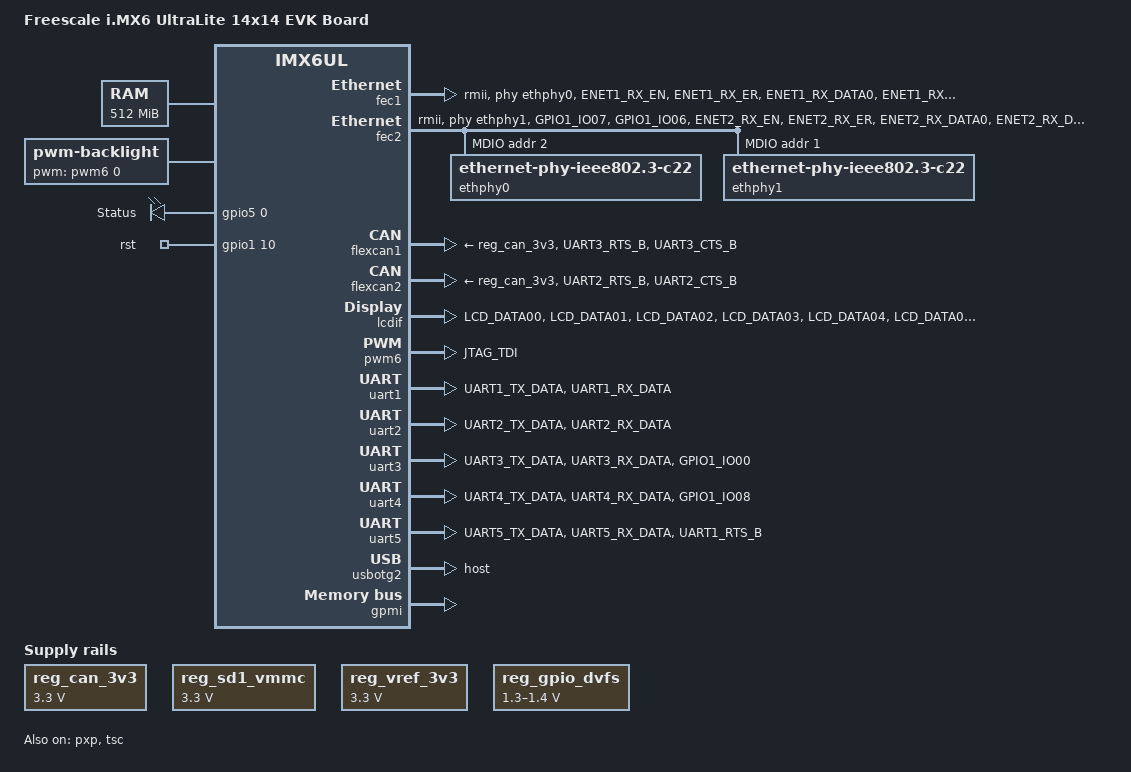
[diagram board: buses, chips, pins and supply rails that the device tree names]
/*
 * Copyright (C) 2015 Freescale Semiconductor, Inc.
 *
 * This program is free software; you can redistribute it and/or modify
 * it under the terms of the GNU General Public License version 2 as
 * published by the Free Software Foundation.
 */

/dts-v1/;

#include <dt-bindings/input/input.h>
#include "imx6ul.dtsi"
#define LCD_320X240 1
#define LCD_480X272 2
#define LCD_800X480 3
#define LCD_800X600 4
#define LCD_STYLE LCD_800X480
/ {
	model = "Freescale i.MX6 UltraLite 14x14 EVK Board";
	compatible = "fsl,imx6ul-14x14-evk", "fsl,imx6ul";

	chosen {
		stdout-path = &uart1;
	};

	memory {
		reg = <0x80000000 0x20000000>;
	};

	backlight {
		compatible = "pwm-backlight";
		pwms = <&pwm6 0 5000000>;
		brightness-levels = <0 4 8 16 32 64 128 255>;
		default-brightness-level = <6>;
		status = "okay";
	};
	leds {
		compatible = "gpio-leds";
		pinctrl-0 = <&pinctrl_gpio>;
		ld1 {
			label = "Status";
			gpios = <&gpio5 0 0>; /* Active low */
			linux,default-trigger = "heartbeat";
		};
		ld2 {
			label = "rst";
			gpios = <&gpio1 10 0>; /* Active low */
			default-state = "on";
		};
	};
	
	pxp_v4l2 {
		compatible = "fsl,imx6ul-pxp-v4l2", "fsl,imx6sx-pxp-v4l2", "fsl,imx6sl-pxp-v4l2";
		status = "okay";
	};

	regulators {
		compatible = "simple-bus";
		#address-cells = <1>;
		#size-cells = <0>;

		reg_can_3v3: regulator@0 {
			compatible = "regulator-fixed";
			reg = <0>;
			regulator-name = "can-3v3";
			regulator-min-microvolt = <3300000>;
			regulator-max-microvolt = <3300000>;
		};

		reg_sd1_vmmc: regulator@1 {
			compatible = "regulator-fixed";
			regulator-name = "VSD_3V3";
			regulator-min-microvolt = <3300000>;
			regulator-max-microvolt = <3300000>;
		
		};
		reg_vref_3v3: regulator@2 {
			compatible = "regulator-fixed";
			regulator-name = "vref-3v3";
			regulator-min-microvolt = <3300000>;
			regulator-max-microvolt = <3300000>;
		};

		reg_gpio_dvfs: regulator-gpio {
			compatible = "regulator-gpio";
			pinctrl-names = "default";
			pinctrl-0 = <&pinctrl_dvfs>;
			regulator-min-microvolt = <1300000>;
			regulator-max-microvolt = <1400000>;
			regulator-name = "gpio_dvfs";
			regulator-type = "voltage";
			gpios = <&gpio5 3 GPIO_ACTIVE_HIGH>;
			states = <1300000 0x1 1400000 0x0>;
		};
	};


	spi4 {
		compatible = "spi-gpio";
		pinctrl-names = "default";
		pinctrl-0 = <&pinctrl_spi4>;
		pinctrl-assert-gpios = <&gpio5 8 GPIO_ACTIVE_LOW>;
		status = "disabled";
		gpio-sck = <&gpio5 11 0>;
		gpio-mosi = <&gpio5 10 0>;
		cs-gpios = <&gpio5 7 0>;
		num-chipselects = <1>;
		#address-cells = <1>;
		#size-cells = <0>;

		gpio_spi: gpio_spi@0 {
			compatible = "fairchild,74hc595";
			gpio-controller;
			#gpio-cells = <2>;
			reg = <0>;
			registers-number = <1>;
			registers-default = /bits/ 8 <0xb7>;
			spi-max-frequency = <100000>;
		};
	};
};

&cpu0 {
	arm-supply = <&reg_arm>;
	soc-supply = <&reg_soc>;
	dc-supply = <&reg_gpio_dvfs>;
};

&clks {
	assigned-clocks = <&clks IMX6UL_CLK_PLL4_AUDIO_DIV>;
	assigned-clock-rates = <786432000>;
};

&fec1 {
	pinctrl-names = "default";
	pinctrl-0 = <&pinctrl_enet1>;
	phy-mode = "rmii";
	phy-handle = <&ethphy0>;
	status = "okay";
};

&fec2 {
	pinctrl-names = "default";
	pinctrl-0 = <&pinctrl_enet2>;
	phy-mode = "rmii";
	phy-handle = <&ethphy1>;
	status = "okay";

	mdio {
		#address-cells = <1>;
		#size-cells = <0>;

		ethphy0: ethernet-phy@2 {
			compatible = "ethernet-phy-ieee802.3-c22";
			reg = <2>;
		};

		ethphy1: ethernet-phy@1 {
			compatible = "ethernet-phy-ieee802.3-c22";
			reg = <1>;
		};
	};
};

&flexcan1 {
	pinctrl-names = "default";
	pinctrl-0 = <&pinctrl_flexcan1>;
	xceiver-supply = <&reg_can_3v3>;
	status = "okay";
};

&flexcan2 {
	pinctrl-names = "default";
	pinctrl-0 = <&pinctrl_flexcan2>;
	xceiver-supply = <&reg_can_3v3>;
	status = "okay";
};

&gpc {
	fsl,cpu_pupscr_sw2iso = <0x1>;
	fsl,cpu_pupscr_sw = <0x0>;
	fsl,cpu_pdnscr_iso2sw = <0x1>;
	fsl,cpu_pdnscr_iso = <0x1>;
	fsl,wdog-reset = <1>; /* watchdog select of reset source */
	fsl,ldo-bypass = <0>; /* DCDC, ldo-enable */
};

&lcdif {
	pinctrl-names = "default";
	pinctrl-0 = <&pinctrl_lcdif_dat
		     &pinctrl_lcdif_ctrl>;
	display = <&display0>;
	status = "okay";

	display0: display {
		bits-per-pixel = <32>;
		bus-width = <24>;
		
		display-timings {
			native-mode = <&timing0>;
			timing0: timing0 {
			clock-frequency = <30200000>;
			hactive = <800>;
			vactive = <480>;
			hfront-porch = <40>;
			hback-porch = <40>;
			hsync-len = <41>;
			vback-porch = <13>;
			vfront-porch = <29>;
			vsync-len = <13>;

			hsync-active = <0>;
			vsync-active = <0>;
			de-active = <1>;
			pixelclk-active = <0>;
			};
		};
	};
};

&pwm6 {
	pinctrl-names = "default";
	pinctrl-0 = <&pinctrl_pwm6>;
	status = "okay";
};

&pxp {
	status = "okay";
};


&tsc {
	pinctrl-names = "default";
	pinctrl-0 = <&pinctrl_tsc>;
	status = "okay";
	xnur-gpio = <&gpio1 3 0>;
#if LCD_STYLE== LCD_320X240
	measure_delay_time = <0x1fffff>;
	pre_charge_time = <0xfff>;
#endif
#if LCD_STYLE== LCD_480X272
	measure_delay_time = <0x1fffff>;
	pre_charge_time = <0xfff>;
#endif
#if LCD_STYLE== LCD_800X480
	measure_delay_time = <0x1fffff>;
	pre_charge_time = <0xfff>;
#endif
#if LCD_STYLE== LCD_800X600
	measure_delay_time = <0x1fffff>;
	pre_charge_time = <0xfff>;
#endif
};

&uart1 {
	pinctrl-names = "default";
	pinctrl-0 = <&pinctrl_uart1>;
	status = "okay";
};

&uart2 {
	pinctrl-names = "default";
	pinctrl-0 = <&pinctrl_uart2>;
	status = "okay";
};

&uart3 {
	pinctrl-names = "default";
	pinctrl-0 = <&pinctrl_uart3>;
	rs485-gpios = <&gpio1 0 0>; //GPIO_0
	status = "okay";
};

&uart4 {
	pinctrl-names = "default";
	pinctrl-0 = <&pinctrl_uart4>;
	rs485-gpios = <&gpio1 8 0>; //GPIO_8
	status = "okay";
};

&uart5 {
	pinctrl-names = "default";
	pinctrl-0 = <&pinctrl_uart5>;
	rs485-gpios = <&gpio1 19 0>; //UART1_RTS
	status = "okay";
};

&uart6 {
	pinctrl-names = "default";
	pinctrl-0 = <&pinctrl_uart6>;
	rs485-gpios = <&gpio4 22 0>;
	status = "disabled";
};

&uart7 {
	pinctrl-names = "default";
	pinctrl-0 = <&pinctrl_uart7>;
	status = "disabled";
};

&uart8 {
	pinctrl-names = "default";
	pinctrl-0 = <&pinctrl_uart8>;
	status = "disabled";
};

&usbotg1 {
	dr_mode = "peripheral";
	status = "disabled";
};

&usbotg2 {
	dr_mode = "host";
	disable-over-current;
	status = "okay";
};

&usdhc1 {
	pinctrl-names = "default", "state_100mhz", "state_200mhz";
	pinctrl-0 = <&pinctrl_usdhc1>;
	pinctrl-1 = <&pinctrl_usdhc1_100mhz>;
	pinctrl-2 = <&pinctrl_usdhc1_200mhz>;
	/*cd-gpios = <&gpio1 19 0>;*/
	keep-power-in-suspend;
	enable-sdio-wakeup;
	vmmc-supply = <&reg_sd1_vmmc>;
	status = "disabled";
};

&usdhc2 {
	pinctrl-names = "default";
	pinctrl-0 = <&pinctrl_usdhc2>;
	no-1-8-v;
	keep-power-in-suspend;
	enable-sdio-wakeup;
	status = "disabled";
};

&qspi {
	pinctrl-names = "default";
	pinctrl-0 = <&pinctrl_qspi>;
	status = "disabled";
	ddrsmp=<0>;

	flash0: n25q256a@0 {
		#address-cells = <1>;
		#size-cells = <1>;
		compatible = "micron,n25q256a";
		spi-max-frequency = <29000000>;
		spi-nor,ddr-quad-read-dummy = <6>;
		reg = <0>;
	};
};
&gpmi{
	status = "okay";
};

&iomuxc {
	pinctrl-names = "default";
	pinctrl-0 = <&pinctrl_hog_1>;
	imx6ul-evk {
		pinctrl_hog_1: hoggrp-1 {
			fsl,pins = <
				MX6UL_PAD_LCD_RESET__WDOG1_WDOG_ANY    0x30b0
				
				//MX6UL_PAD_SD1_CMD__GPIO2_IO16       0x17059
				//MX6UL_PAD_SD1_DATA1__GPIO2_IO19     0x17059   
				//MX6UL_PAD_SD1_DATA2__GPIO2_IO20     0x17059 
				//MX6UL_PAD_SD1_DATA3__GPIO2_IO21 	0x17059	
				
				MX6UL_PAD_CSI_HSYNC__GPIO4_IO20     0xC0017059  //IN1 设置sion 不然OUT读到的value为0
				MX6UL_PAD_CSI_VSYNC__GPIO4_IO19     0xC0017059  //IN2
				MX6UL_PAD_CSI_DATA00__GPIO4_IO21	0xC0017059  //IN3
				MX6UL_PAD_CSI_DATA01__GPIO4_IO22	0xC0017059  //IN4
				MX6UL_PAD_CSI_DATA02__GPIO4_IO23	0xC0017059  //IN5
				MX6UL_PAD_CSI_DATA03__GPIO4_IO24	0xC0017059  //IN6         
				
				MX6UL_PAD_GPIO1_IO09__GPIO1_IO09	0xC0017059  //OUT1
				MX6UL_PAD_SNVS_TAMPER1__GPIO5_IO01  0xC0017059  //OUT2
				MX6UL_PAD_SNVS_TAMPER0__GPIO5_IO00  0xC0017059  //OUT3
				MX6UL_PAD_SNVS_TAMPER7__GPIO5_IO07  0xC0017059  //OUT4
				MX6UL_PAD_SNVS_TAMPER4__GPIO5_IO04  0xC0017059  //OUT5
				MX6UL_PAD_SNVS_TAMPER9__GPIO5_IO09  0xC0017059  //OUT6
				MX6UL_PAD_SNVS_TAMPER8__GPIO5_IO08  0xC0017059  //OUT7
				
			
			>;
		};

		pinctrl_enet1: enet1grp {
			fsl,pins = <
				MX6UL_PAD_ENET1_RX_EN__ENET1_RX_EN	0x1b0b0
				MX6UL_PAD_ENET1_RX_ER__ENET1_RX_ER	0x1b0b0
				MX6UL_PAD_ENET1_RX_DATA0__ENET1_RDATA00	0x1b0b0
				MX6UL_PAD_ENET1_RX_DATA1__ENET1_RDATA01	0x1b0b0
				MX6UL_PAD_ENET1_TX_EN__ENET1_TX_EN	0x1b0b0
				MX6UL_PAD_ENET1_TX_DATA0__ENET1_TDATA00	0x1b0b0
				MX6UL_PAD_ENET1_TX_DATA1__ENET1_TDATA01	0x1b0b0
				MX6UL_PAD_ENET1_TX_CLK__ENET1_REF_CLK1	0x4001b031
			>;
		};

		pinctrl_enet2: enet2grp {
			fsl,pins = <
				MX6UL_PAD_GPIO1_IO07__ENET2_MDC		0x1b0b0
				MX6UL_PAD_GPIO1_IO06__ENET2_MDIO	0x1b0b0
				MX6UL_PAD_ENET2_RX_EN__ENET2_RX_EN	0x1b0b0
				MX6UL_PAD_ENET2_RX_ER__ENET2_RX_ER	0x1b0b0
				MX6UL_PAD_ENET2_RX_DATA0__ENET2_RDATA00	0x1b0b0
				MX6UL_PAD_ENET2_RX_DATA1__ENET2_RDATA01	0x1b0b0
				MX6UL_PAD_ENET2_TX_EN__ENET2_TX_EN	0x1b0b0
				MX6UL_PAD_ENET2_TX_DATA0__ENET2_TDATA00	0x1b0b0
				MX6UL_PAD_ENET2_TX_DATA1__ENET2_TDATA01	0x1b0b0
				MX6UL_PAD_ENET2_TX_CLK__ENET2_REF_CLK2	0x4001b031
				//MX6UL_PAD_SNVS_TAMPER0__GPIO5_IO00	0x80000000
			>;
		};

		pinctrl_flexcan1: flexcan1grp{
			fsl,pins = <
				MX6UL_PAD_UART3_RTS_B__FLEXCAN1_RX	0x1b020
				MX6UL_PAD_UART3_CTS_B__FLEXCAN1_TX	0x1b020
			>;
		};

		pinctrl_flexcan2: flexcan2grp{
			fsl,pins = <
				MX6UL_PAD_UART2_RTS_B__FLEXCAN2_RX	0x1b020
				MX6UL_PAD_UART2_CTS_B__FLEXCAN2_TX	0x1b020
			>;
		};

		pinctrl_gprs:gprsgrp{
			fsl,pins = <
			MX6UL_PAD_ENET2_RX_ER__GPIO2_IO15	0x70a0
			>;
		};
		pinctrl_lcdif_dat: lcdifdatgrp {
			fsl,pins = <
				MX6UL_PAD_LCD_DATA00__LCDIF_DATA00  0x79
				MX6UL_PAD_LCD_DATA01__LCDIF_DATA01  0x79
				MX6UL_PAD_LCD_DATA02__LCDIF_DATA02  0x79
				MX6UL_PAD_LCD_DATA03__LCDIF_DATA03  0x79
				MX6UL_PAD_LCD_DATA04__LCDIF_DATA04  0x79
				MX6UL_PAD_LCD_DATA05__LCDIF_DATA05  0x79
				MX6UL_PAD_LCD_DATA06__LCDIF_DATA06  0x79
				MX6UL_PAD_LCD_DATA07__LCDIF_DATA07  0x79
				MX6UL_PAD_LCD_DATA08__LCDIF_DATA08  0x79
				MX6UL_PAD_LCD_DATA09__LCDIF_DATA09  0x79
				MX6UL_PAD_LCD_DATA10__LCDIF_DATA10  0x79
				MX6UL_PAD_LCD_DATA11__LCDIF_DATA11  0x79
				MX6UL_PAD_LCD_DATA12__LCDIF_DATA12  0x79
				MX6UL_PAD_LCD_DATA13__LCDIF_DATA13  0x79
				MX6UL_PAD_LCD_DATA14__LCDIF_DATA14  0x79
				MX6UL_PAD_LCD_DATA15__LCDIF_DATA15  0x79
				MX6UL_PAD_LCD_DATA17__LCDIF_DATA17  0x79
				MX6UL_PAD_LCD_DATA18__LCDIF_DATA18  0x79
				MX6UL_PAD_LCD_DATA19__LCDIF_DATA19  0x79
				MX6UL_PAD_LCD_DATA20__LCDIF_DATA20  0x79
				MX6UL_PAD_LCD_DATA21__LCDIF_DATA21  0x79
				MX6UL_PAD_LCD_DATA22__LCDIF_DATA22  0x79
				MX6UL_PAD_LCD_DATA23__LCDIF_DATA23  0x79
				MX6UL_PAD_JTAG_MOD__GPIO1_IO10      0xC0017059
				
			>;
		};

		pinctrl_lcdif_ctrl: lcdifctrlgrp {
			fsl,pins = <
				MX6UL_PAD_LCD_CLK__LCDIF_CLK	    0x79
				MX6UL_PAD_LCD_ENABLE__LCDIF_ENABLE  0x79
				MX6UL_PAD_LCD_HSYNC__LCDIF_HSYNC    0x79
				MX6UL_PAD_LCD_VSYNC__LCDIF_VSYNC    0x79
			>;
		};
	
		pinctrl_gpio: gpiogrp {
			fsl,pins = <
				MX6UL_PAD_SNVS_TAMPER0__GPIO5_IO00   0x110b0
				//MX6UL_PAD_SNVS_TAMPER1__GPIO5_IO01   0x110b0
				//MX6UL_PAD_SNVS_TAMPER7__GPIO5_IO07   0x110b0
			>;
		};

		pinctrl_pwm6: pwm6grp {
			fsl,pins = <
				MX6UL_PAD_JTAG_TDI__PWM6_OUT   0x110b0
			>;
		};

		pinctrl_sim2_1: sim2grp-1 {
			fsl,pins = <
				MX6UL_PAD_CSI_DATA03__SIM2_PORT1_PD		0xb808
				MX6UL_PAD_CSI_DATA04__SIM2_PORT1_CLK		0x31
				MX6UL_PAD_CSI_DATA05__SIM2_PORT1_RST_B		0xb808
				MX6UL_PAD_CSI_DATA06__SIM2_PORT1_SVEN		0xb808
				MX6UL_PAD_CSI_DATA07__SIM2_PORT1_TRXD		0xb809
				MX6UL_PAD_CSI_DATA02__GPIO4_IO23		0x3008
			>;
		};

		pinctrl_uart1: uart1grp {
			fsl,pins = <
				MX6UL_PAD_UART1_TX_DATA__UART1_DCE_TX 0x1b0b1
				MX6UL_PAD_UART1_RX_DATA__UART1_DCE_RX 0x1b0b1
			>;
		};
		pinctrl_uart2: uart2grp {
			fsl,pins = <
				MX6UL_PAD_UART2_TX_DATA__UART2_DCE_TX	0x1b0b1
				MX6UL_PAD_UART2_RX_DATA__UART2_DCE_RX	0x1b0b1
			>;
		};
		pinctrl_uart3: uart3grp {
			fsl,pins = <
				MX6UL_PAD_UART3_TX_DATA__UART3_DCE_TX 0x1b0b1
				MX6UL_PAD_UART3_RX_DATA__UART3_DCE_RX 0x1b0b1
				MX6UL_PAD_GPIO1_IO00__GPIO1_IO00	0x17059 /*uart3 485-io*/
				
			>;
		};
		pinctrl_uart4: uart4grp {
			fsl,pins = <
				MX6UL_PAD_UART4_TX_DATA__UART4_DCE_TX 0x1b0b1
				MX6UL_PAD_UART4_RX_DATA__UART4_DCE_RX 0x1b0b1
				MX6UL_PAD_GPIO1_IO08__GPIO1_IO08    0x17059 /*uart4 485-io*/
			>;
		};
		pinctrl_uart5: uart5grp {
			fsl,pins = <
				MX6UL_PAD_UART5_TX_DATA__UART5_DCE_TX 0x1b0b1
				MX6UL_PAD_UART5_RX_DATA__UART5_DCE_RX 0x1b0b1
				MX6UL_PAD_UART1_RTS_B__GPIO1_IO19	0x17059 /*uart5 485-io */
				
			>;
		};
		pinctrl_uart6: uart6grp {
			fsl,pins = <
				MX6UL_PAD_CSI_MCLK__UART6_DCE_TX   0x1b0b1
				MX6UL_PAD_CSI_PIXCLK__UART6_DCE_RX 0x1b0b1
			>;
		};
		pinctrl_uart7: uart7grp {
			fsl,pins = <
				MX6UL_PAD_LCD_DATA16__UART7_DCE_TX 0x1b0b1
				MX6UL_PAD_LCD_DATA17__UART7_DCE_RX 0x1b0b1
			>;
		};
		pinctrl_uart8: uart8grp {
			fsl,pins = <
				MX6UL_PAD_LCD_DATA20__UART8_DCE_TX 0x1b0b1
				MX6UL_PAD_LCD_DATA21__UART8_DCE_RX 0x1b0b1
			>;
		};
		pinctrl_usdhc1: usdhc1grp {
			fsl,pins = <
				MX6UL_PAD_SD1_CMD__USDHC1_CMD     0x17059
				MX6UL_PAD_SD1_CLK__USDHC1_CLK     0x10071
				MX6UL_PAD_SD1_DATA0__USDHC1_DATA0 0x17059
				MX6UL_PAD_SD1_DATA1__USDHC1_DATA1 0x17059
				MX6UL_PAD_SD1_DATA2__USDHC1_DATA2 0x17059
				MX6UL_PAD_SD1_DATA3__USDHC1_DATA3 0x17059
			>;
		};

		pinctrl_usdhc1_100mhz: usdhc1grp100mhz {
			fsl,pins = <
				MX6UL_PAD_SD1_CMD__USDHC1_CMD     0x170b9
				MX6UL_PAD_SD1_CLK__USDHC1_CLK     0x100b9
				MX6UL_PAD_SD1_DATA0__USDHC1_DATA0 0x170b9
				MX6UL_PAD_SD1_DATA1__USDHC1_DATA1 0x170b9
				MX6UL_PAD_SD1_DATA2__USDHC1_DATA2 0x170b9
				MX6UL_PAD_SD1_DATA3__USDHC1_DATA3 0x170b9
			>;
		};

		pinctrl_usdhc1_200mhz: usdhc1grp200mhz {
			fsl,pins = <
				MX6UL_PAD_SD1_CMD__USDHC1_CMD     0x170f9
				MX6UL_PAD_SD1_CLK__USDHC1_CLK     0x100f9
				MX6UL_PAD_SD1_DATA0__USDHC1_DATA0 0x170f9
				MX6UL_PAD_SD1_DATA1__USDHC1_DATA1 0x170f9
				MX6UL_PAD_SD1_DATA2__USDHC1_DATA2 0x170f9
				MX6UL_PAD_SD1_DATA3__USDHC1_DATA3 0x170f9
			>;
		};

		pinctrl_usdhc2: usdhc2grp {
			fsl,pins = <
				MX6UL_PAD_NAND_RE_B__USDHC2_CLK     0x10069
				MX6UL_PAD_NAND_WE_B__USDHC2_CMD     0x17059
				MX6UL_PAD_NAND_DATA00__USDHC2_DATA0 0x17059
				MX6UL_PAD_NAND_DATA01__USDHC2_DATA1 0x17059
				MX6UL_PAD_NAND_DATA02__USDHC2_DATA2 0x17059
				MX6UL_PAD_NAND_DATA03__USDHC2_DATA3 0x17059
			>;
		};

		pinctrl_tsc: tscgrp {
			fsl,pins = <
				MX6UL_PAD_GPIO1_IO01__GPIO1_IO01	0xb0
				MX6UL_PAD_GPIO1_IO02__GPIO1_IO02	0xb0
				MX6UL_PAD_GPIO1_IO03__GPIO1_IO03	0xb0
				MX6UL_PAD_GPIO1_IO04__GPIO1_IO04	0xb0
			>;
		};

		pinctrl_adc1: adc1grp {
			fsl,pins = <
				MX6UL_PAD_GPIO1_IO09__GPIO1_IO09        0xb0
			>;
		};

		pinctrl_qspi: qspigrp {
			fsl,pins = <
				MX6UL_PAD_NAND_WP_B__QSPI_A_SCLK      0x70a1
				MX6UL_PAD_NAND_READY_B__QSPI_A_DATA00 0x70a1
				MX6UL_PAD_NAND_CE0_B__QSPI_A_DATA01   0x70a1
				MX6UL_PAD_NAND_CE1_B__QSPI_A_DATA02   0x70a1
				MX6UL_PAD_NAND_CLE__QSPI_A_DATA03     0x70a1
				MX6UL_PAD_NAND_DQS__QSPI_A_SS0_B      0x70a1
			>;
		};


		pinctrl_spi4: spi4grp {
			fsl,pins = <
				MX6UL_PAD_BOOT_MODE0__GPIO5_IO10	0x70a1
				MX6UL_PAD_BOOT_MODE1__GPIO5_IO11	0x70a1
				MX6UL_PAD_SNVS_TAMPER7__GPIO5_IO07	0x70a1
				MX6UL_PAD_SNVS_TAMPER8__GPIO5_IO08	0x80000000
			>;
		};

		pinctrl_dvfs: dvfsgrp {
			fsl,pins = <
				MX6UL_PAD_SNVS_TAMPER3__GPIO5_IO03	0x79
			>;
		};
	};
};
